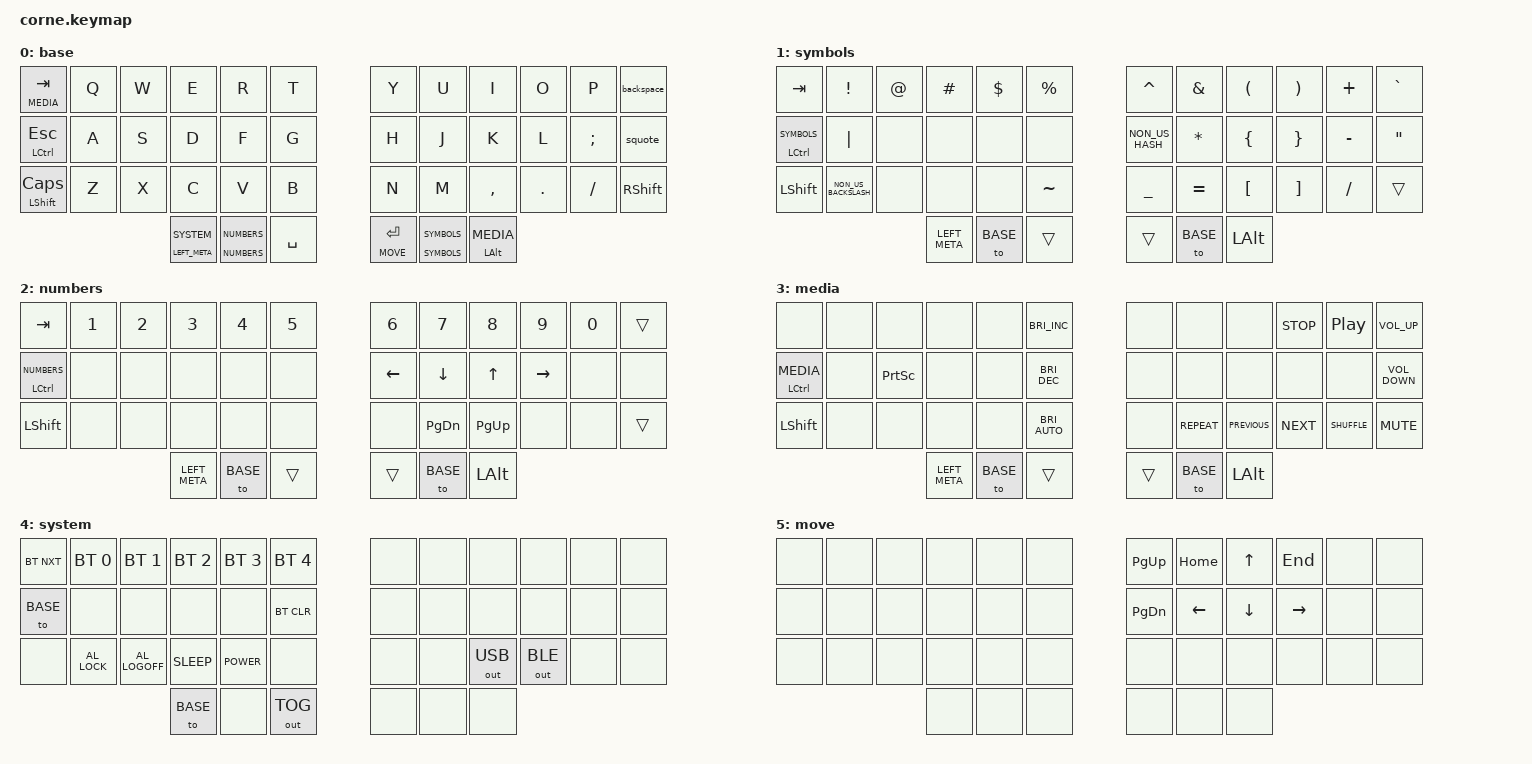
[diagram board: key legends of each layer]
/* vim: filetype=c
 * Copyright (c) 2020, 2023 The ZMK Contributors, Jonathan Wright
 *
 * SPDX-License-Identifier: MIT
 */

#include <behaviors.dtsi>
#include <dt-bindings/zmk/keys.h>
#include <dt-bindings/zmk/bt.h>
#include <dt-bindings/zmk/outputs.h>

// Prepare the Layers
#define BASE 0
#define SYMBOLS 1
#define NUMBERS 2
#define MEDIA 3
#define SYSTEM 4
#define MOVE 5

// TAP_DANCE settings
#define TAP_SPEED 200

&sk {
  release-after-ms = <2000>;
  quick-release;
};

&mt {
  tapping-term-ms = <400>;
  retro-tap;
};

&soft_off {
    hold-time-ms = <2000>;
};

/ {

  behaviors {
    ms: mod_sticky {
      compatible = "zmk,behavior-hold-tap";
      #binding-cells = <2>;
      flavor = "hold-preferred";
      tapping-term-ms = <200>;
      bindings = <&mo>, <&sl>;
    };

    kpt: kp_toggle {
      compatible = "zmk,behavior-hold-tap";
      #binding-cells = <2>;
      flavor = "hold-preferred";
      tapping-term-ms = <200>;
      bindings = <&kp>, <&tog>;
    };

    squote: single_double_quote {
      compatible = "zmk,behavior-mod-morph";
      #binding-cells = <0>;
      bindings = <&kp SINGLE_QUOTE>, <&kp DOUBLE_QUOTES>;
      mods = <(MOD_LSFT|MOD_RSFT)>;
    };

     backspace: backspace_delete {
      compatible = "zmk,behavior-mod-morph";
      #binding-cells = <0>;
      bindings = <&kp BACKSPACE>, <&kp DELETE>;
      mods = <(MOD_LSFT|MOD_RSFT)>;
    };
  };

  combos {
    compatible = "zmk,combos";

    // Power off the left-hand keyboard
    left_soft_off {
      timeout-ms = <100>;
      layers = <0>; // limit to the BASE layer
      key-positions = <37 38 39>;
      bindings = <&soft_off>;
    };

    // Power off the right-hand keyboard
    right_soft_off {
      timeout-ms = <100>;
      layers = <0>; // limit to the BASE layer
      key-positions = <40 41 42>;
      bindings = <&soft_off>;
    };
  };

  keymap {
    compatible = "zmk,keymap";

    // ╭────┬────┬────┬────┬────┬────╮ ╭────┬────┬────┬────┬────┬────╮
    // │ 01 │ 02 │ 03 │ 04 │ 05 │ 06 │ │ 07 │ 08 │ 09 │ 10 │ 11 │ 12 │
    // ├────┼────┼────┼────┼────┼────┤ ├────┼────┼────┼────┼────┼────┤
    // │ 13 │ 14 │ 15 │ 16 │ 17 │ 18 │ │ 19 │ 20 │ 21 │ 22 │ 23 │ 24 │
    // ├────┼────┼────┼────┼────┼────┤ ├────┼────┼────┼────┼────┼────┤
    // │ 25 │ 26 │ 27 │ 28 │ 29 │ 30 │ │ 31 │ 32 │ 33 │ 34 │ 35 │ 36 │
    // ╰────┴────┴────┼────┼────┼────┤ ├────┼────┼────┼────┴────┴────╯
    //                │ 37 │ 38 │ 39 │ │ 40 │ 41 │ 42 │
    //                ╰────┴────┴────╯ ╰────┴────┴────╯

    default_layer {
      label = "base";
      bindings = <
        // ╭─────────────────────────┬───────┬───────┬───────┬───────┬───────╮ ╭───────┬───────┬───────────┬────────────┬───────────────┬──────────────────╮
             &lt MEDIA TAB             &kp Q   &kp W   &kp E   &kp R   &kp T     &kp Y   &kp U   &kp I       &kp O        &kp P           &backspace
        // ├─────────────────────────┼───────┼───────┼───────┼───────┼───────┤ ├───────┼───────┼───────────┼────────────┼───────────────┼──────────────────┤
             &mt LEFT_CONTROL ESCAPE   &kp A   &kp S   &kp D   &kp F   &kp G     &kp H   &kp J   &kp K       &kp L        &kp SEMICOLON   &squote
        // ├─────────────────────────┼───────┼───────┼───────┼───────┼───────┤ ├───────┼───────┼───────────┼────────────┼───────────────┼──────────────────┤
             &mt LEFT_SHIFT CAPSLOCK   &kp Z   &kp X   &kp C   &kp V   &kp B     &kp N   &kp M   &kp COMMA   &kp PERIOD   &kp SLASH       &kp RIGHT_SHIFT
        // ╰───────┬─────────────────┴─────┬──┴───────┴──────┴───┬───┴───────┤ ├───────┴───────┴┬───────────┴─────────┬─┴───────────────┴───┬──────────────╯
                     &kpt LEFT_META SYSTEM   &ms NUMBERS NUMBERS   &kp SPACE     &lt MOVE ENTER   &ms SYMBOLS SYMBOLS   &kpt LEFT_ALT MEDIA
        //         ╰───────────────────────┴─────────────────────┴───────────╯ ╰────────────────┴─────────────────────┴─────────────────────╯
      >;
    };

    symbols_layer { // right modifier
      label = "symbols";
      bindings = <
        //                                                                    HASH is £                                      NON_US_HASH is #
        // ╭───────────────────────────┬──────────────────────┬─────────────┬─────────────────┬────────────┬─────────────╮ ╭─────────────────┬───────────────┬──────────────────────┬──────────────────────┬───────────┬───────────────────╮
             &kp TAB                     &kp EXCLAMATION        &kp AT_SIGN   &kp HASH          &kp DOLLAR   &kp PERCENT     &kp CARET         &kp AMPERSAND   &kp LEFT_PARENTHESIS   &kp RIGHT_PARENTHESIS  &kp PLUS    &kp GRAVE
        // ├───────────────────────────┼──────────────────────┼─────────────┼─────────────────┼────────────┼─────────────┤ ├─────────────────┼───────────────┼──────────────────────┼──────────────────────┼───────────┼───────────────────┤
             &kpt LEFT_CONTROL SYMBOLS   &kp PIPE               &none         &none             &none        &none           &kp NON_US_HASH   &kp ASTERISK    &kp LEFT_BRACE         &kp RIGHT_BRACE        &kp MINUS   &kp DOUBLE_QUOTES
        // ├───────────────────────────┼──────────────────────┼─────────────┼─────────────────┼────────────┼─────────────┤ ├─────────────────┼───────────────┼──────────────────────┼──────────────────────┼───────────┼───────────────────┤
             &kp LEFT_SHIFT              &kp NON_US_BACKSLASH   &none         &none             &none        &kp TILDE       &kp UNDERSCORE    &kp EQUAL       &kp LEFT_BRACKET       &kp RIGHT_BRACKET      &kp SLASH   &trans
        // ╰───────────────────────────┴──────────────────────┴─────────────┴────────┬────────┴──────┬─────┴────┬────────┤ ├────────┬────────┴─┬─────────────┴─┬────────────────────┴──────────────────────┴───────────┴───────────────────╯
                                                                                       &kp LEFT_META   &to BASE   &trans     &trans   &to BASE   &kp LEFT_ALT
        //                                                                           ╰───────────────┴──────────┴────────╯ ╰────────┴──────────┴──────────────╯
      >;
    };

    numbers_layer {
      label = "numbers";
      bindings = <
        // ╭───────────────────────────┬────────┬────────┬────────┬────────┬────────╮ ╭──────────┬───────────────┬─────────────┬───────────┬────────┬────────╮
             &kp TAB                     &kp N1   &kp N2   &kp N3   &kp N4   &kp N5     &kp N6     &kp N7          &kp N8        &kp N9      &kp N0   &trans
        // ├───────────────────────────┼────────┼────────┼────────┼────────┼────────┤ ├──────────┼───────────────┼─────────────┼───────────┼────────┼────────┤
             &kpt LEFT_CONTROL NUMBERS   &none    &none    &none    &none    &none      &kp LEFT   &kp DOWN        &kp UP        &kp RIGHT   &none    &none
        // ├───────────────────────────┼────────┼────────┼────────┼────────┼────────┤ ├──────────┼───────────────┼─────────────┼───────────┼────────┼────────┤
             &kp LEFT_SHIFT              &none    &none    &none    &none    &none      &none      &kp PAGE_DOWN   &kp PAGE_UP   &none       &none    &trans
        // ╰───────────────────────────┴────────┼────────┴──────┬─┴────────┼────────┤ ├────────┬──┴───────┬──────┴───────┬─────┴───────────┴────────┴────────╯
                                                  &kp LEFT_META   &to BASE   &trans     &trans   &to BASE   &kp LEFT_ALT
        //                                      ╰───────────────┴──────────┴────────╯ ╰────────┴──────────┴──────────────╯

      >;
    };

    media_layer {
      label = "media";
      bindings = <
        // ╭─────────────────────────┬───────┬─────────────────┬───────┬───────┬───────────────────────╮ ╭───────┬──────────────┬────────────────┬────────────┬──────────────────┬───────────────────╮
             &none                     &none   &none             &none   &none   &kp C_BRIGHTNESS_INC      &none   &none          &none            &kp C_STOP   &kp C_PLAY_PAUSE   &kp C_VOLUME_UP
        // ├─────────────────────────┼───────┼─────────────────┼───────┼───────┼───────────────────────┤ ├───────┼──────────────┼────────────────┼────────────┼──────────────────┼───────────────────┤
             &kpt LEFT_CONTROL MEDIA   &none   &kp PRINTSCREEN   &none   &none   &kp C_BRIGHTNESS_DEC      &none   &none          &none            &none        &none              &kp C_VOLUME_DOWN
        // ├─────────────────────────┼───────┼─────────────────┼───────┼───────┼───────────────────────┤ ├───────┼──────────────┼────────────────┼────────────┼──────────────────┼───────────────────┤
             &kp LEFT_SHIFT            &none   &none             &none   &none   &kp C_BRIGHTNESS_AUTO     &none   &kp C_REPEAT   &kp C_PREVIOUS   &kp C_NEXT   &kp C_SHUFFLE      &kp C_MUTE
        // ├─────────────────────────┴───────┴─────────────────┴───┬───┴───────┴───┬──────────┬────────┤ ├───────┴┬─────────┬───┴───────────┬────┴────────────┴──────────────────┴───────────────────╯
                                                                     &kp LEFT_META   &to BASE   &trans     &trans   &to BASE   &kp LEFT_ALT
      >;
    };

    system_layer {
      label = "system";
      bindings = <
        // ╭────────────┬─────────────────┬─────────────────┬──────────────┬──────────────┬──────────────╮ ╭───────┬───────┬──────────────┬──────────────┬───────┬───────╮
             &bt BT_NXT   &bt BT_SEL 0      &bt BT_SEL 1      &bt BT_SEL 2   &bt BT_SEL 3   &bt BT_SEL 4     &none   &none   &none          &none          &none   &none
        // ├────────────┼─────────────────┼─────────────────┼──────────────┼──────────────┼──────────────┤ ├───────┼───────┼──────────────┼──────────────┼───────┼───────┤
             &to BASE     &none             &none             &none          &none          &bt BT_CLR       &none   &none   &none          &none          &none   &none
        // ├────────────┼─────────────────┼─────────────────┼──────────────┼──────────────┼──────────────┤ ├───────┼───────┼──────────────┼──────────────┼───────┼───────┤
             &none        &kp C_AL_LOCK     &kp C_AL_LOGOFF   &kp C_SLEEP    &kp C_POWER    &none            &none   &none   &out OUT_USB   &out OUT_BLE   &none   &none
        // ╰────────────┴─────────────────┴─────────────────┴──────────────┴──────┬───────┴──────────────┤ ├───────┼───────┼───────┬──────┴──────────────┴───────┴───────╯
                                                                         &to BASE   &none   &out OUT_TOG     &none   &none   &none
        //                                                             ╰──────────┴───────┴──────────────╯ ╰───────┴───────┴───────╯
      >;
    };

    move_layer {
      label = "move";
      bindings = <
        // ╭───────┬───────┬───────┬───────┬───────┬───────╮ ╭───────────────┬──────────┬──────────┬───────────┬───────┬───────╮
             &none   &none   &none   &none   &none   &none     &kp PAGE_UP     &kp HOME   &kp UP     &kp END     &none   &none
        // ├───────┼───────┼───────┼───────┼───────┼───────┤ ├───────────────┼──────────┼──────────┼───────────┼───────┼───────┤
             &none   &none   &none   &none   &none   &none     &kp PAGE_DOWN   &kp LEFT   &kp DOWN   &kp RIGHT   &none   &none
        // ├───────┼───────┼───────┼──────────────┼────────┤ ├───────────────┼──────────┼──────────┼───────────┼───────┼───────┤
             &none   &none   &none   &none   &none   &none     &none           &none      &none      &none       &none   &none
        // ╰───────┴───────┴───────┼───────┼───────┼───────┤ ├───────┬───────┼───────┬──┴──────────┴───────────┴───────┴───────╯
                                     &none   &none   &none     &none   &none   &none
        //                         ╰───────┴───────┴───────╯ ╰───────┴───────┴───────╯
      >;
    };
  };
};
